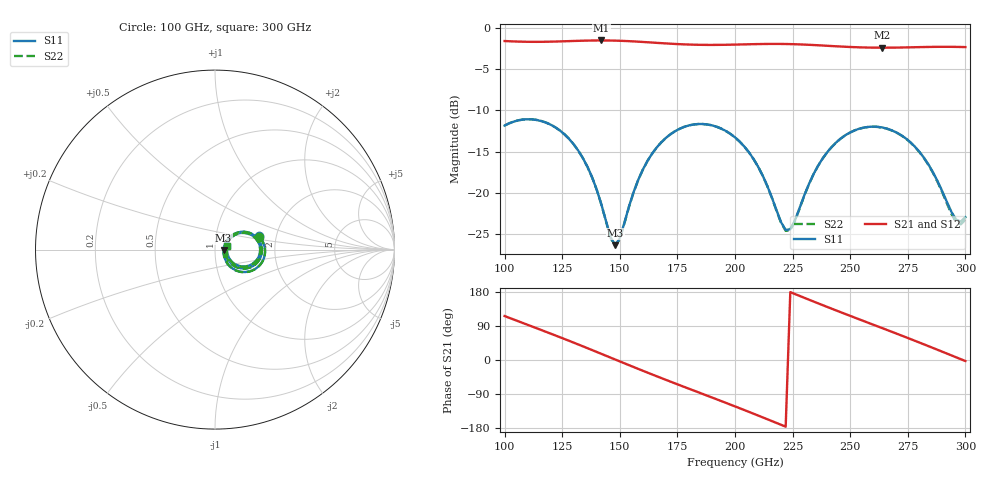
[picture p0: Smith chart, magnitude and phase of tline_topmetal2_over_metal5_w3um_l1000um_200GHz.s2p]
#  GHZ S DB R 50
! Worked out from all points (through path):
!   101 points, 100 GHz to 300 GHz, reference 50 ohm
!   highest |S21| = -1.53 dB at 142 GHz (marker M1); lowest = -2.4 dB at 264 GHz (marker M2)
!   group delay of S21, straight-line fit = 6.66 ps
!   lowest |S11| = -26.3 dB at 148 GHz (marker M3), VSWR 1.10, Z = 55 - j0.45 ohm
!   |S11| at or under -10 dB: start of sweep to end of sweep
!   |S22| runs from -26.5 to -11.1 dB; largest |S21 - S12| = 9.2e-14
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100  -11.85 16.8  -1.60 116.0  -1.60 116.0  -11.84 16.4
110  -11.08 -2.4  -1.70 92.8  -1.70 92.8  -11.08 -2.8
118  -11.49 -17.8  -1.69 74.3  -1.69 74.3  -11.49 -18.1
134  -15.80 -44.9  -1.56 36.0  -1.56 36.0  -15.80 -45.4
142  -21.39 -45.7  -1.53 16.2  -1.53 16.2  -21.42 -46.4
148  -26.33 -4.8  -1.56 1.3  -1.56 1.3  -26.46 -5.2
158  -18.42 40.3  -1.68 -23.5  -1.68 -23.5  -18.44 40.3
168  -13.87 28.8  -1.86 -47.6  -1.86 -47.6  -13.88 28.7
184  -11.66 0.5  -2.06 -85.0  -2.06 -85.0  -11.66 0.3
200  -13.28 -27.5  -2.04 -122.4  -2.04 -122.4  -13.28 -27.9
210  -16.81 -40.0  -1.97 -146.5  -1.97 -146.5  -16.82 -40.5
222  -24.49 -8.7  -1.96 -176.0  -1.96 -176.0  -24.60 -9.2
226  -23.34 21.4  -1.99 174.2  -1.99 174.2  -23.43 21.3
234  -17.78 37.0  -2.09 154.6  -2.09 154.6  -17.80 36.9
242  -14.42 29.4  -2.21 135.3  -2.21 135.3  -14.44 29.2
250  -12.67 16.9  -2.32 116.5  -2.32 116.5  -12.68 16.6
264  -12.08 -7.2  -2.41 83.9  -2.41 83.9  -12.10 -7.8
268  -12.42 -14.0  -2.40 74.6  -2.40 74.6  -12.43 -14.6
278  -14.38 -29.4  -2.35 50.9  -2.35 50.9  -14.41 -30.2
286  -17.54 -36.1  -2.31 31.6  -2.31 31.6  -17.61 -37.2
296  -23.24 -11.2  -2.31 7.1  -2.31 7.1  -23.55 -12.0
300  -22.95 14.3  -2.34 -2.7  -2.34 -2.7  -23.24 14.7
